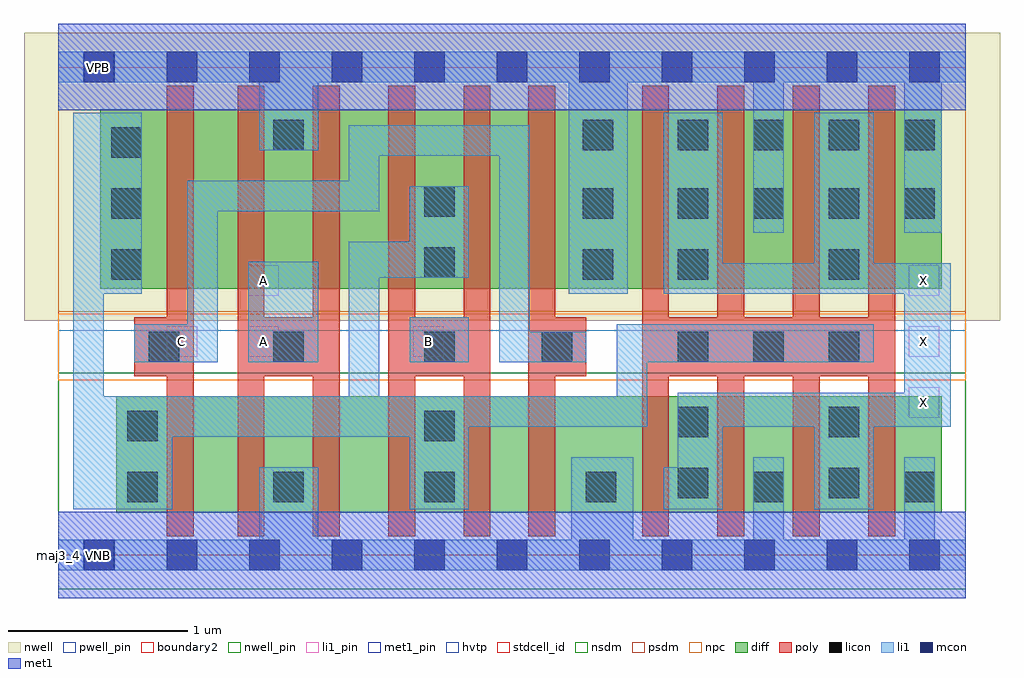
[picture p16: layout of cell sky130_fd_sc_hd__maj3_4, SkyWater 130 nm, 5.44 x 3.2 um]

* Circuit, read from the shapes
.subckt sky130_fd_sc_hd__maj3_4 A B C VGND VNB VPB VPWR X
XM1 n1 C n2 VNB sky130_fd_pr__nfet_01v8 w=0.65 l=0.15
XM2 VGND A n1 VNB sky130_fd_pr__nfet_01v8 w=0.65 l=0.15
XM3 n3 A VGND VNB sky130_fd_pr__nfet_01v8 w=0.65 l=0.15
XM4 n2 B n3 VNB sky130_fd_pr__nfet_01v8 w=0.65 l=0.15
XM5 n4 B n2 VNB sky130_fd_pr__nfet_01v8 w=0.65 l=0.15
XM6 VGND C n4 VNB sky130_fd_pr__nfet_01v8 w=0.65 l=0.15
XM7 X n2 VGND VNB sky130_fd_pr__nfet_01v8 w=0.65 l=0.15 m=4
XM8 n5 C n2 VPB sky130_fd_pr__pfet_01v8_hvt w=1 l=0.15
XM9 VPWR A n5 VPB sky130_fd_pr__pfet_01v8_hvt w=1 l=0.15
XM10 n6 A VPWR VPB sky130_fd_pr__pfet_01v8_hvt w=1 l=0.15
XM11 n2 B n6 VPB sky130_fd_pr__pfet_01v8_hvt w=1 l=0.15
XM12 n7 B n2 VPB sky130_fd_pr__pfet_01v8_hvt w=1 l=0.15
XM13 VPWR C n7 VPB sky130_fd_pr__pfet_01v8_hvt w=1 l=0.15
XM14 X n2 VPWR VPB sky130_fd_pr__pfet_01v8_hvt w=1 l=0.15 m=4
.ends

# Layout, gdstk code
import gdstk
lib = gdstk.Library(unit=1e-6, precision=1e-09)
def R(c, l, rs):  # rectangles x0, y0, x1, y1
    for r in rs: c.add(gdstk.rectangle(r[:2], r[2:], *l))
def A(c, l, x, y, w, h, nx, ny, dx, dy):  # array of equal rectangles
    R(c, l, [(x+i*dx, y+j*dy, x+i*dx+w, y+j*dy+h) for i in range(nx) for j in range(ny)])
def P(c, l, *ps):  # polygons
    for p in ps: c.add(gdstk.Polygon(p, *l))
nwell_pin = (64, 16)
nwell = (64, 20)
diff = (65, 20)
poly = (66, 20)
licon = (66, 44)
li1_pin = (67, 16)
li1 = (67, 20)
mcon = (67, 44)
met1_pin = (68, 16)
met1 = (68, 20)
hvtp = (78, 44)
stdcell_id = (81, 4)
nsdm = (93, 44)
psdm = (94, 20)
npc = (95, 20)
pwell_pin = (122, 16)
boundary2 = (236, 0)

sky130_fd_sc_hd__maj3_4 = lib.new_cell('sky130_fd_sc_hd__maj3_4')
R(sky130_fd_sc_hd__maj3_4, nwell_pin, [(0.14,2.635,0.31,2.805)])
R(sky130_fd_sc_hd__maj3_4, nwell, [(-0.19,1.305,5.25,2.91)])
R(sky130_fd_sc_hd__maj3_4, diff, [(0.325,0.235,4.925,0.885), (0.235,1.485,4.925,2.485)])
P(sky130_fd_sc_hd__maj3_4, poly, [(4.665,2.615),(4.515,2.615),(4.515,1.325),(4.245,1.325),(4.245,2.615),(4.095,2.615),(4.095,1.325),(3.825,1.325),(3.825,2.615),(3.675,2.615),(3.675,1.325),(3.405,1.325),(3.405,2.615),(3.255,2.615),(3.255,0.105),(3.405,0.105),(3.405,0.995),(3.675,0.995),(3.675,0.105),(3.825,0.105),(3.825,0.995),(4.095,0.995),(4.095,0.105),(4.245,0.105),(4.245,0.995),(4.515,0.995),(4.515,0.105),(4.665,0.105)],
  [(1.57,2.615),(1.42,2.615),(1.42,1.325),(1.15,1.325),(1.15,2.615),(1,2.615),(1,0.105),(1.15,0.105),(1.15,0.995),(1.42,0.995),(1.42,0.105),(1.57,0.105)],
  [(2.945,1.325),(2.77,1.325),(2.77,2.615),(2.62,2.615),(2.62,0.105),(2.77,0.105),(2.77,0.995),(2.945,0.995)],
  [(2.41,2.615),(2.26,2.615),(2.26,1.325),(1.99,1.325),(1.99,2.615),(1.84,2.615),(1.84,0.105),(1.99,0.105),(1.99,0.995),(2.26,0.995),(2.26,0.105),(2.41,0.105)],
  [(0.755,2.615),(0.605,2.615),(0.605,1.325),(0.425,1.325),(0.425,0.995),(0.605,0.995),(0.605,0.105),(0.755,0.105)])
A(sky130_fd_sc_hd__maj3_4, licon, 3.455, 1.075, 0.17, 0.17, 3, 1, 0.42, 0)
A(sky130_fd_sc_hd__maj3_4, licon, 0.295, 1.535, 0.17, 0.17, 1, 3, 0, 0.34)
A(sky130_fd_sc_hd__maj3_4, licon, 3.455, 1.875, 0.17, 0.17, 4, 2, 0.42, 0.38)
R(sky130_fd_sc_hd__maj3_4, licon, [(0.385,0.295,0.555,0.465), (1.2,0.295,1.37,0.465), (2.04,0.295,2.21,0.465), (2.94,0.295,3.11,0.465), (3.875,0.295,4.045,0.465), (4.715,0.295,4.885,0.465), (3.455,0.315,3.625,0.485), (4.295,0.315,4.465,0.485), (0.385,0.635,0.555,0.805), (2.04,0.635,2.21,0.805), (3.455,0.655,3.625,0.825), (4.295,0.655,4.465,0.825), (0.505,1.075,0.675,1.245), (1.2,1.075,1.37,1.245), (2.04,1.075,2.21,1.245), (2.695,1.075,2.865,1.245), (2.925,1.535,3.095,1.705), (3.455,1.535,3.625,1.705), (4.295,1.535,4.465,1.705), (2.04,1.545,2.21,1.715), (2.925,1.875,3.095,2.045), (2.04,1.885,2.21,2.055), (1.2,2.255,1.37,2.425), (2.925,2.255,3.095,2.425)])
A(sky130_fd_sc_hd__maj3_4, li1_pin, 4.74, 0.765, 0.17, 0.17, 1, 3, 0, 0.34)
R(sky130_fd_sc_hd__maj3_4, li1_pin, [(0.605,1.105,0.775,1.275), (1.06,1.105,1.23,1.275), (1.06,1.105,1.23,1.275), (1.98,1.105,2.15,1.275), (1.06,1.445,1.23,1.615)])
R(sky130_fd_sc_hd__maj3_4, li1, [(1.06,1.075,1.45,1.635), (1.96,1.075,2.29,1.325)])
P(sky130_fd_sc_hd__maj3_4, li1, [(5.06,2.805),(0,2.805),(0,2.635),(1.12,2.635),(1.12,2.255),(1.45,2.255),(1.45,2.635),(2.845,2.635),(2.845,1.455),(3.175,1.455),(3.175,2.635),(3.875,2.635),(3.875,1.795),(4.045,1.795),(4.045,2.635),(4.715,2.635),(4.715,1.795),(4.925,1.795),(4.925,2.635),(5.06,2.635)],
  [(4.975,1.625),(4.545,1.625),(4.545,2.465),(4.215,2.465),(4.215,1.625),(3.705,1.625),(3.705,2.465),(3.375,2.465),(3.375,1.455),(4.715,1.455),(4.715,0.905),(3.455,0.905),(3.455,0.49),(3.375,0.49),(3.375,0.255),(3.705,0.255),(3.705,0.715),(4.215,0.715),(4.215,0.255),(4.545,0.255),(4.545,0.715),(4.975,0.715)],
  [(2.945,1.245),(2.63,1.245),(2.63,2.395),(1.62,2.395),(1.62,2.085),(0.72,2.085),(0.72,1.285),(0.425,1.285),(0.425,1.075),(0.89,1.075),(0.89,1.915),(1.79,1.915),(1.79,2.225),(2.46,2.225),(2.46,1.075),(2.945,1.075)],
  [(5.06,0.085),(4.885,0.085),(4.885,0.545),(4.715,0.545),(4.715,0.085),(4.045,0.085),(4.045,0.545),(3.875,0.545),(3.875,0.085),(3.205,0.085),(3.205,0.545),(2.86,0.545),(2.86,0.085),(1.45,0.085),(1.45,0.49),(1.12,0.49),(1.12,0.085),(0,0.085),(0,-0.085),(5.06,-0.085)],
  [(4.545,1.285),(3.115,1.285),(3.115,0.885),(1.79,0.885),(1.79,1.545),(2.29,1.545),(2.29,2.055),(1.96,2.055),(1.96,1.745),(1.62,1.745),(1.62,0.885),(0.255,0.885),(0.255,1.455),(0.465,1.455),(0.465,2.465),(0.085,2.465),(0.085,0.255),(0.635,0.255),(0.635,0.66),(1.96,0.66),(1.96,0.255),(2.29,0.255),(2.29,0.715),(3.285,0.715),(3.285,1.075),(4.545,1.075)])
A(sky130_fd_sc_hd__maj3_4, mcon, 0.145, -0.085, 0.17, 0.17, 11, 2, 0.46, 2.72)
R(sky130_fd_sc_hd__maj3_4, met1_pin, [(0.14,-0.085,0.31,0.085), (0.14,2.635,0.31,2.805)])
R(sky130_fd_sc_hd__maj3_4, hvtp, [(0,1.25,5.06,2.72)])
R(sky130_fd_sc_hd__maj3_4, stdcell_id, [(0,0,5.06,2.72)])
R(sky130_fd_sc_hd__maj3_4, nsdm, [(0,-0.19,5.06,1.015)])
R(sky130_fd_sc_hd__maj3_4, psdm, [(0,1.355,5.06,2.91)])
R(sky130_fd_sc_hd__maj3_4, npc, [(0,0.975,5.06,1.345)])
R(sky130_fd_sc_hd__maj3_4, pwell_pin, [(0.14,-0.085,0.31,0.085)])
R(sky130_fd_sc_hd__maj3_4, boundary2, [(0,0,5.06,2.72)])
sky130_fd_sc_hd__maj3_4.add(gdstk.FlexPath([(0,2.72),(5.06,2.72)], 0.48, ends="flush", simple_path=True, layer=68, datatype=20))  # met1
sky130_fd_sc_hd__maj3_4.add(gdstk.FlexPath([(0,0),(5.06,0)], 0.48, ends="flush", simple_path=True, layer=68, datatype=20))  # met1
sky130_fd_sc_hd__maj3_4.add(gdstk.Label('X', (4.825,1.19), layer=67, texttype=5))
sky130_fd_sc_hd__maj3_4.add(gdstk.Label('X', (4.825,1.53), layer=67, texttype=5))
sky130_fd_sc_hd__maj3_4.add(gdstk.Label('B', (2.065,1.19), layer=67, texttype=5))
sky130_fd_sc_hd__maj3_4.add(gdstk.Label('C', (0.69,1.19), layer=67, texttype=5))
sky130_fd_sc_hd__maj3_4.add(gdstk.Label('A', (1.145,1.19), layer=67, texttype=5))
sky130_fd_sc_hd__maj3_4.add(gdstk.Label('A', (1.145,1.53), layer=67, texttype=5))
sky130_fd_sc_hd__maj3_4.add(gdstk.Label('X', (4.825,0.85), layer=67, texttype=5))
sky130_fd_sc_hd__maj3_4.add(gdstk.Label('VPB', (0.225,2.72), layer=64, texttype=5))
sky130_fd_sc_hd__maj3_4.add(gdstk.Label('VNB', (0.225,0), layer=64, texttype=59))
sky130_fd_sc_hd__maj3_4.add(gdstk.Label('VGND', (0.23,0), layer=68, texttype=5))
sky130_fd_sc_hd__maj3_4.add(gdstk.Label('VPWR', (0.23,2.72), layer=68, texttype=5))
sky130_fd_sc_hd__maj3_4.add(gdstk.Label('maj3_4', (0,0), layer=83, texttype=44))

lib.write_gds('sky130_fd_sc_hd__maj3_4.gds')
